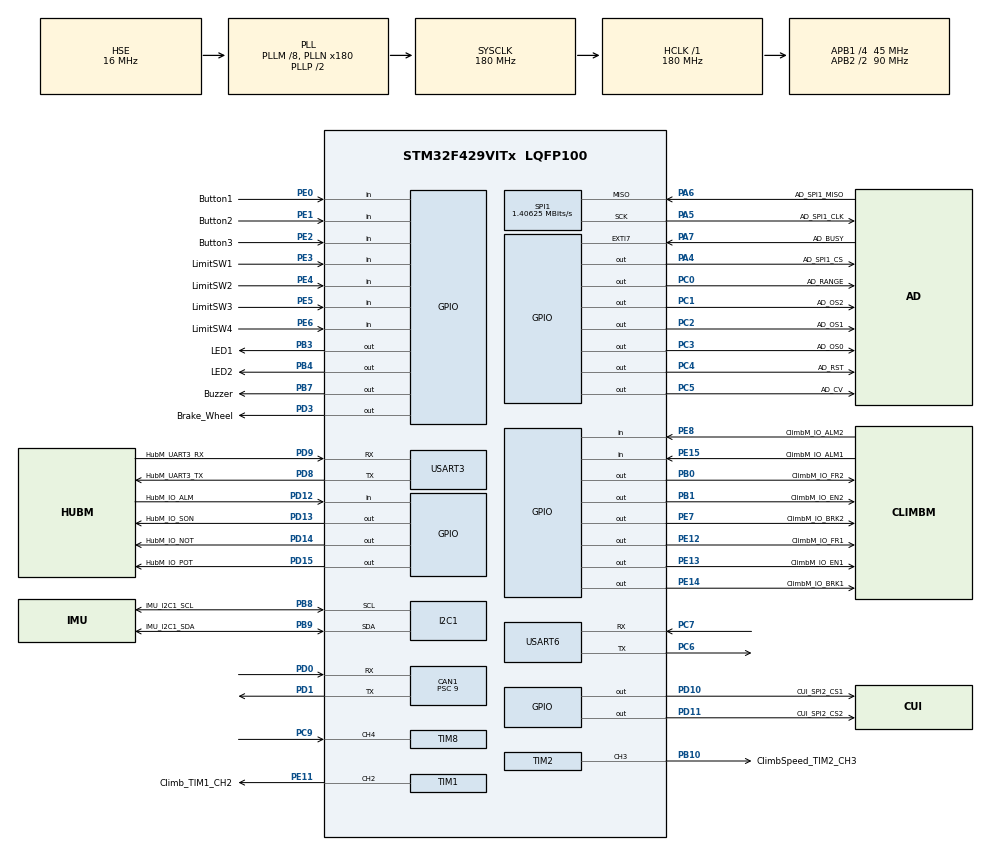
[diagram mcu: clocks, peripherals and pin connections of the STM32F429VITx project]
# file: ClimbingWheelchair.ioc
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CAN1.BS1=CAN_BS1_2TQ
CAN1.BS2=CAN_BS2_2TQ
CAN1.CalculateBaudRate=1000000
CAN1.CalculateTimeBit=1000.00
CAN1.CalculateTimeQuantum=200.0
CAN1.Prescaler=9
Dma.Request0=USART3_RX
Dma.Request1=USART3_TX
Dma.Request2=USART6_RX
Dma.Request3=USART6_TX
Dma.USART3_RX.0.Direction=DMA_PERIPH_TO_MEMORY
Dma.USART3_RX.0.FIFOMode=DMA_FIFOMODE_DISABLE
Dma.USART3_RX.0.Instance=DMA1_Stream1
Dma.USART3_RX.0.MemDataAlignment=DMA_MDATAALIGN_BYTE
Dma.USART3_RX.0.MemInc=DMA_MINC_ENABLE
Dma.USART3_RX.0.Mode=DMA_NORMAL
Dma.USART3_RX.0.PeriphDataAlignment=DMA_PDATAALIGN_BYTE
Dma.USART3_RX.0.PeriphInc=DMA_PINC_DISABLE
Dma.USART3_RX.0.Priority=DMA_PRIORITY_LOW
Dma.USART3_TX.1.Direction=DMA_MEMORY_TO_PERIPH
Dma.USART3_TX.1.FIFOMode=DMA_FIFOMODE_DISABLE
Dma.USART3_TX.1.Instance=DMA1_Stream3
Dma.USART3_TX.1.MemDataAlignment=DMA_MDATAALIGN_BYTE
Dma.USART3_TX.1.MemInc=DMA_MINC_ENABLE
Dma.USART3_TX.1.Mode=DMA_NORMAL
Dma.USART3_TX.1.PeriphDataAlignment=DMA_PDATAALIGN_BYTE
Dma.USART3_TX.1.PeriphInc=DMA_PINC_DISABLE
Dma.USART3_TX.1.Priority=DMA_PRIORITY_LOW
Dma.USART6_RX.2.Direction=DMA_PERIPH_TO_MEMORY
Dma.USART6_RX.2.FIFOMode=DMA_FIFOMODE_DISABLE
Dma.USART6_RX.2.Instance=DMA2_Stream1
Dma.USART6_RX.2.MemDataAlignment=DMA_MDATAALIGN_BYTE
Dma.USART6_RX.2.MemInc=DMA_MINC_ENABLE
Dma.USART6_RX.2.Mode=DMA_NORMAL
Dma.USART6_RX.2.PeriphDataAlignment=DMA_PDATAALIGN_BYTE
Dma.USART6_RX.2.PeriphInc=DMA_PINC_DISABLE
Dma.USART6_RX.2.Priority=DMA_PRIORITY_LOW
Dma.USART6_TX.3.Direction=DMA_MEMORY_TO_PERIPH
Dma.USART6_TX.3.FIFOMode=DMA_FIFOMODE_DISABLE
Dma.USART6_TX.3.Instance=DMA2_Stream6
Dma.USART6_TX.3.MemDataAlignment=DMA_MDATAALIGN_BYTE
Dma.USART6_TX.3.MemInc=DMA_MINC_ENABLE
Dma.USART6_TX.3.Mode=DMA_NORMAL
Dma.USART6_TX.3.PeriphDataAlignment=DMA_PDATAALIGN_BYTE
Dma.USART6_TX.3.PeriphInc=DMA_PINC_DISABLE
Dma.USART6_TX.3.Priority=DMA_PRIORITY_LOW
I2C1.I2C_Mode=I2C_Fast
Mcu.Family=STM32F4
Mcu.Name=STM32F429VITx
Mcu.Package=LQFP100
NVIC.CAN1_RX0_IRQn=true\:0\:0\:false\:false\:true\:true\:true
NVIC.DMA1_Stream1_IRQn=true\:0\:0\:false\:false\:true\:false\:true
NVIC.DMA1_Stream3_IRQn=true\:0\:0\:false\:false\:true\:false\:true
NVIC.DMA2_Stream1_IRQn=true\:0\:0\:false\:false\:true\:false\:true
NVIC.DMA2_Stream6_IRQn=true\:0\:0\:false\:false\:true\:false\:true
NVIC.EXTI9_5_IRQn=true\:0\:0\:false\:false\:true\:true\:true
NVIC.PriorityGroup=NVIC_PRIORITYGROUP_4
NVIC.TIM8_BRK_TIM12_IRQn=true\:0\:0\:false\:false\:true\:true\:true
NVIC.TIM8_CC_IRQn=true\:0\:0\:false\:false\:true\:true\:true
NVIC.TIM8_TRG_COM_TIM14_IRQn=true\:0\:0\:false\:false\:true\:true\:true
NVIC.TIM8_UP_TIM13_IRQn=true\:0\:0\:false\:false\:true\:true\:true
NVIC.USART3_IRQn=true\:0\:0\:false\:false\:true\:true\:true
NVIC.USART6_IRQn=true\:0\:0\:false\:false\:true\:true\:true
PA13.Mode=Serial_Wire
PA13.Signal=SYS_JTMS-SWDIO
PA14.Mode=Serial_Wire
PA14.Signal=SYS_JTCK-SWCLK
PA4.GPIO_Label=AD_SPI1_CS
PA4.GPIO_PuPd=GPIO_PULLUP
PA4.GPIO_Speed=GPIO_SPEED_FREQ_LOW
PA4.PinState=GPIO_PIN_RESET
PA4.Signal=GPIO_Output
PA5.GPIO_Label=AD_SPI1_CLK
PA5.Mode=RX_Only_Simplex_Unidirect_Master
PA5.Signal=SPI1_SCK
PA6.GPIO_Label=AD_SPI1_MISO
PA6.Mode=RX_Only_Simplex_Unidirect_Master
PA6.Signal=SPI1_MISO
PA7.GPIO_Label=AD_BUSY
PA7.GPIO_ModeDefaultEXTI=GPIO_MODE_IT_FALLING
PA7.Signal=GPXTI7
PB0.GPIO_Label=ClimbM_IO_FR2
PB0.GPIO_PuPd=GPIO_PULLUP
PB0.Signal=GPIO_Output
PB1.GPIO_Label=ClimbM_IO_EN2
PB1.GPIO_PuPd=GPIO_PULLUP
PB1.Signal=GPIO_Output
PB10.GPIO_Label=ClimbSpeed_TIM2_CH3
PB10.Signal=S_TIM2_CH3
PB3.GPIO_Label=LED1
PB3.GPIO_PuPd=GPIO_PULLUP
PB3.Signal=GPIO_Output
PB4.GPIO_Label=LED2
PB4.GPIO_PuPd=GPIO_PULLUP
PB4.Signal=GPIO_Output
PB5.Signal=CAN2_RX
PB7.GPIO_Label=Buzzer
PB7.GPIO_PuPd=GPIO_PULLUP
PB7.Signal=GPIO_Output
PB8.GPIO_Label=IMU_I2C1_SCL
PB8.GPIO_Pu=GPIO_PULLUP
PB8.Mode=I2C
PB8.Signal=I2C1_SCL
PB9.GPIO_Label=IMU_I2C1_SDA
PB9.GPIO_Pu=GPIO_PULLUP
PB9.Mode=I2C
PB9.Signal=I2C1_SDA
PC0.GPIO_Label=AD_RANGE
PC0.GPIO_PuPd=GPIO_PULLUP
PC0.Signal=GPIO_Output
PC1.GPIO_Label=AD_OS2
PC1.GPIO_PuPd=GPIO_PULLUP
PC1.Signal=GPIO_Output
PC14/OSC32_IN.Mode=LSE-External-Oscillator
PC14/OSC32_IN.Signal=RCC_OSC32_IN
PC15/OSC32_OUT.Mode=LSE-External-Oscillator
PC15/OSC32_OUT.Signal=RCC_OSC32_OUT
PC2.GPIO_Label=AD_OS1
PC2.GPIO_PuPd=GPIO_PULLUP
PC2.Signal=GPIO_Output
PC3.GPIO_Label=AD_OS0
PC3.GPIO_PuPd=GPIO_PULLUP
PC3.Signal=GPIO_Output
PC4.GPIO_Label=AD_RST
PC4.GPIO_PuPd=GPIO_PULLUP
PC4.Signal=GPIO_Output
PC5.GPIO_Label=AD_CV
PC5.GPIO_PuPd=GPIO_PULLUP
PC5.Signal=GPIO_Output
PC6.Mode=Asynchronous
PC6.Signal=USART6_TX
PC7.Mode=Asynchronous
PC7.Signal=USART6_RX
PC9.Signal=S_TIM8_CH4
PD0.Mode=CAN_Activate
PD0.Signal=CAN1_RX
PD1.Mode=CAN_Activate
PD1.Signal=CAN1_TX
PD10.GPIO_Label=CUI_SPI2_CS1
PD10.GPIO_PuPd=GPIO_PULLUP
PD10.Signal=GPIO_Output
PD11.GPIO_Label=CUI_SPI2_CS2
PD11.GPIO_PuPd=GPIO_PULLUP
PD11.Signal=GPIO_Output
PD12.GPIO_Label=HubM_IO_ALM
PD12.Signal=GPIO_Input
PD13.GPIO_Label=HubM_IO_SON
PD13.GPIO_PuPd=GPIO_PULLUP
PD13.Signal=GPIO_Output
PD14.GPIO_Label=HubM_IO_NOT
PD14.GPIO_PuPd=GPIO_PULLUP
PD14.Signal=GPIO_Output
PD15.GPIO_Label=HubM_IO_POT
PD15.GPIO_PuPd=GPIO_PULLUP
PD15.Signal=GPIO_Output
PD3.GPIO_Label=Brake_Wheel
PD3.GPIO_PuPd=GPIO_PULLUP
PD3.Signal=GPIO_Output
PD8.GPIO_Label=HubM_UART3_TX
PD8.Mode=Asynchronous
PD8.Signal=USART3_TX
PD9.GPIO_Label=HubM_UART3_RX
PD9.Mode=Asynchronous
PD9.Signal=USART3_RX
PE0.GPIO_Label=Button1
PE0.GPIO_PuPd=GPIO_PULLDOWN
PE0.Signal=GPIO_Input
PE1.GPIO_Label=Button2
PE1.GPIO_PuPd=GPIO_PULLDOWN
PE1.Signal=GPIO_Input
PE11.GPIO_Label=Climb_TIM1_CH2
PE11.Signal=S_TIM1_CH2
PE12.GPIO_Label=ClimbM_IO_FR1
PE12.GPIO_PuPd=GPIO_PULLUP
PE12.Signal=GPIO_Output
PE13.GPIO_Label=ClimbM_IO_EN1
PE13.GPIO_PuPd=GPIO_PULLUP
PE13.Signal=GPIO_Output
PE14.GPIO_Label=ClimbM_IO_BRK1
PE14.GPIO_PuPd=GPIO_PULLUP
PE14.Signal=GPIO_Output
PE15.GPIO_Label=ClimbM_IO_ALM1
PE15.GPIO_PuPd=GPIO_PULLUP
PE15.Signal=GPIO_Input
PE2.GPIO_Label=Button3
PE2.GPIO_PuPd=GPIO_PULLDOWN
PE2.Signal=GPIO_Input
PE3.GPIO_Label=LimitSW1
PE3.GPIO_PuPd=GPIO_PULLUP
PE3.Signal=GPIO_Input
PE4.GPIO_Label=LimitSW2
PE4.GPIO_PuPd=GPIO_PULLUP
PE4.Signal=GPIO_Input
PE5.GPIO_Label=LimitSW3
PE5.GPIO_PuPd=GPIO_PULLUP
PE5.Signal=GPIO_Input
PE6.GPIO_Label=LimitSW4
PE6.GPIO_PuPd=GPIO_PULLUP
PE6.Signal=GPIO_Input
PE7.GPIO_Label=ClimbM_IO_BRK2
PE7.GPIO_PuPd=GPIO_PULLUP
PE7.Signal=GPIO_Output
PE8.GPIO_Label=ClimbM_IO_ALM2
PE8.GPIO_PuPd=GPIO_PULLUP
PE8.Signal=GPIO_Input
PH0/OSC_IN.Mode=HSE-External-Oscillator
PH0/OSC_IN.Signal=RCC_OSC_IN
PH1/OSC_OUT.Mode=HSE-External-Oscillator
PH1/OSC_OUT.Signal=RCC_OSC_OUT
ProjectManager.HeapSize=0x200
ProjectManager.StackSize=0x400
ProjectManager.TargetToolchain=STM32CubeIDE
RCC.48MHZClocksFreq_Value=90000000
RCC.AHBFreq_Value=180000000
RCC.APB1CLKDivider=RCC_HCLK_DIV4
RCC.APB1Freq_Value=45000000
RCC.APB1TimFreq_Value=90000000
RCC.APB2CLKDivider=RCC_HCLK_DIV2
RCC.APB2Freq_Value=90000000
RCC.APB2TimFreq_Value=180000000
RCC.CortexFreq_Value=180000000
RCC.HCLKFreq_Value=180000000
RCC.HSE_VALUE=16000000
RCC.HSI_VALUE=16000000
RCC.PLLM=8
RCC.PLLN=180
RCC.PLLSourceVirtual=RCC_PLLSOURCE_HSE
RCC.SYSCLKFreq_VALUE=180000000
RCC.SYSCLKSource=RCC_SYSCLKSOURCE_PLLCLK
RCC.VCOOutputFreq_Value=360000000
SH.S_TIM1_CH2.0=TIM1_CH2,PWM Generation2 CH2
SH.S_TIM2_CH3.0=TIM2_CH3,PWM Generation3 CH3
SH.S_TIM8_CH4.0=TIM8_CH4,Input_Capture4_from_TI4
SPI1.BaudRatePrescaler=SPI_BAUDRATEPRESCALER_64
SPI1.CLKPolarity=SPI_POLARITY_HIGH
SPI1.CalculateBaudRate=1.40625 MBits/s
SPI1.DataSize=SPI_DATASIZE_16BIT
SPI1.Direction=SPI_DIRECTION_2LINES_RXONLY
SPI1.Mode=SPI_MODE_MASTER
SPI1.VirtualType=VM_MASTER
TIM1.Channel-PWM\ Generation2\ CH2=TIM_CHANNEL_2
TIM1.Period=100-1
TIM1.Prescaler=180-1
TIM2.Channel-PWM\ Generation3\ CH3=TIM_CHANNEL_3
TIM2.Period=100-1
TIM2.Prescaler=90-1
TIM3.Period=20000-1
TIM3.Prescaler=90-1
TIM8.AutoReloadPreload=TIM_AUTORELOAD_PRELOAD_DISABLE
TIM8.Channel-Input_Capture4_from_TI4=TIM_CHANNEL_4
TIM8.Period=65535
TIM8.Prescaler=90-1
USART3.VirtualMode=VM_ASYNC
USART6.VirtualMode=VM_ASYNC
VP_TIM1_VS_ClockSourceINT.Mode=Internal
VP_TIM2_VS_ClockSourceINT.Mode=Internal
VP_TIM3_VS_ClockSourceINT.Mode=Internal
VP_TIM8_VS_ClockSourceINT.Mode=Internal
board=custom

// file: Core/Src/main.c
/* USER CODE BEGIN Header */
/**
 ******************************************************************************
 * @file           : main.c
 * @brief          : Main program body
 ******************************************************************************
 * @attention
 *
 * <h2><center>&copy; Copyright (c) 2021 STMicroelectronics.
 * All rights reserved.</center></h2>
 *
 * This software component is licensed by ST under BSD 3-Clause license,
 * the "License"; You may not use this file except in compliance with the
 * License. You may obtain a copy of the License at:
 *                        opensource.org/licenses/BSD-3-Clause
 *
 ******************************************************************************
 */
/* USER CODE END Header */
#include "main.h"
#include "can.h"
#include "dma.h"
#include "i2c.h"
#include "spi.h"
#include "tim.h"
#include "usart.h"
#include "gpio.h"

/* USER CODE BEGIN Includes */
#include <math.h>
#include <stdio.h>
#include <stdlib.h>
#include <stdbool.h>
#include "adc.h"
#include "encoder.h"
#include "button.h"
#include "mpu6050.h"
#include "bd25l.h"
#include "X2_6010S.h"
//#include "wheelchair.h"
#include "PID.h"
#include "Sabertooth.h"
#include "joystick.h"
#include "differentialDrive.h"
#include "DifferentialDrivetoSabertooth.h"

/* USER CODE END Includes */

/* USER CODE BEGIN PD */
#define MAX(x, y) (((x) > (y)) ? (x) : (y))
#define MIN(x, y) (((x) < (y)) ? (x) : (y))
#define TO_RAD(x) x * M_PI / 180
#define TO_DEG(x) x * 180 / M_PI
/* USER CODE END PD */

/* USER CODE BEGIN PM */
const float CLIMBING_LEG_LENGTH = 0.349; //in m, measured from the pivot to the center of hub motor
const float BASE_HEIGHT = 0.15;
const float BACK_BASE_HEIGHT = 0.15;

//ALLOWABLE is the maximum pos the climbing wheel can turn
//FRONT_CLIMBING is the pos that the base above the climbing wheel w
const uint32_t MAX_FRONT_ALLOWABLE_ENC = 3100;
const uint32_t MIN_FRONT_ALLOWABLE_ENC = 6600; //6600
const uint32_t MAX_FRONT_CLIMBING_ENC = 1950; //used for climbing up
const uint32_t MAX_BACK_ALLOWABLE_ENC = 3000;
const uint32_t MIN_BACK_ALLOWABLE_ENC = 7500;
const uint32_t MAX_BACK_CLIMBING_ENC = 1850; //used when climbing down
const uint32_t FRONT_FULL_ROTATION_ENC = 4096 * FRONT_GEAR_RATIO;
const uint32_t BACK_FULL_ROTATION_ENC = 4096 * BACK_GEAR_RATIO;

/* USER CODE END PM */

/* USER CODE BEGIN PV */
//Limit Switches & Tactile Switches
Button_TypeDef rearLS1 =
{ .gpioPort = LimitSW1_GPIO_Port, .gpioPin =
LimitSW1_Pin };
Button_TypeDef rearLS2 =
{ .gpioPort = LimitSW2_GPIO_Port, .gpioPin =
LimitSW2_Pin };
Button_TypeDef backLS1 =
{ .gpioPort = LimitSW3_GPIO_Port, .gpioPin =
LimitSW3_Pin };
Button_TypeDef backLS2 =
{ .gpioPort = LimitSW4_GPIO_Port, .gpioPin =
LimitSW4_Pin };
Button_TypeDef button1 =
{ .gpioPort = Button1_GPIO_Port, .gpioPin = Button1_Pin };
Button_TypeDef button2 =
{ .gpioPort = Button2_GPIO_Port, .gpioPin = Button2_Pin };
Button_TypeDef button3 =
{ .gpioPort = Button3_GPIO_Port, .gpioPin = Button3_Pin };

//Joystick/ADC
int16_t adc_rawData[8];
uint32_t prev_adc_time = 0;
JoystickHandle joystick_handler = {0};

//Wheelchair Base wheel control
differentialDrive_Handler differential_drive_handler;
Gear_Level gear_level = GEAR1; //change the speed level if need higher speed
Sabertooth_Handler sabertooth_handler;
uint8_t motor_receive_buf[9];
speedConfig speed_config =
{
	.min_vel = -0.4, //gear level/100
	.max_vel = 0.4,
	.min_acc = -0.2,
	.max_acc = 0.2
};

//Lifting Mode
//State
Operation_Mode lifting_mode = RETRACTION; //0 is normal operation, 1 is lifting up, 2 is lifitng down, -1 is retraction
bool front_touchdown = false; //Record the state of climbing wheel whether contact with ground
bool back_touchdown = false;

//-----------------------------------------------------------------------------------------------
//Balance Control
//-----------------------------------------------------------------------------------------------
MPU6050_t MPU6050;
double initial_angle = 0;
double exp_angle_filter = 0.8;
bool climb_first_iteration = true;
bool button_prev_state = false;
//-----------------------------------------------------------------------------------------------
//Climbing Position Control
//-----------------------------------------------------------------------------------------------
//Climbing landing motor
Motor_TypeDef rearMotor, backMotor; //declare in bd25l.c
float speed[2] =
{ 0 }; //range: 0 - 100
EncoderHandle encoderBack, encoderFront;
float prev_angle_tick = 0;
float prev_angle = 0;

//Front Climbing Position Control
struct pid_controller frontClimb_ctrl;
PID_t frontClimb_pid;
float frontClimb_input = 0, frontClimb_output = 0;
float frontClimb_setpoint = 0;
float frontClimb_kp = 0.35, frontClimb_ki = 0.003, frontClimb_kd = 0.00001;

//Back Climbing Position Control
struct pid_controller backClimb_ctrl;
PID_t backClimb_pid;
float backClimb_input = 0, backClimb_output = 0;
float backClimb_setpoint = 0;
float backClimb_kp = 0.3, backClimb_ki = 0.004, backClimb_kd = 0.00001;

float curb_height = 0; //store curb height
int front_climbDown_enc = 0; //used when climbing down stair, to leave a gap between the front wheel and ground
float back_lifting_height = 0;
float back_lifting_angle = 0;
int back_encoder_input = 0;
//-----------------------------------------------------------------------------------------------
//Climbing Forward Control
//-----------------------------------------------------------------------------------------------
//Hub Motor UART receive
uint8_t receive_buf[15];
Encoder_Feedback hub_encoder_feedback;

float climbForward_speed = 0; //rad/s`
float forward_distance = BASE_LENGTH; // (in meter) distance to travel during climbing process by hub
bool is_lifting = false;
bool finish_climbing_flag = false;
//-----------------------------------------------------------------------------------------------
//Debug Test
//-----------------------------------------------------------------------------------------------
enum Mode
{
	TEST = 0, NORMAL_DEBUG
};
enum Mode state = NORMAL_DEBUG;
int state_count = 0;

int motor_speed = 0;
//float dist = 0.386;

/* USER CODE END PV */

void SystemClock_Config(void);
/* USER CODE BEGIN PFP */
void baseMotorCommand(void);
bool climbingForward(float dist); //return true if in the process of moving forward
bool goto_pos(int enc, PID_t pid_t); //return true if still in the process of reaching the position
bool in_climb_process(int front_enc, int back_enc);
/* USER CODE END PFP */

int main(void)
{

  /* MCU Configuration--------------------------------------------------------*/

  /* Reset of all peripherals, Initializes the Flash interface and the Systick. */
  HAL_Init();

  /* Configure the system clock */
  SystemClock_Config();

  /* USER CODE BEGIN SysInit */
	HAL_SYSTICK_Config(HAL_RCC_GetHCLKFreq() / FREQUENCY);
	HAL_SYSTICK_CLKSourceConfig(SYSTICK_CLKSOURCE_HCLK);
	HAL_NVIC_SetPriority(SysTick_IRQn, 0, 0);
  /* USER CODE END SysInit */

  /* Initialize all configured peripherals */
  MX_GPIO_Init();
  MX_DMA_Init();
  MX_I2C1_Init();
  MX_TIM1_Init();
  MX_TIM2_Init();
  MX_USART3_UART_Init();
  MX_TIM3_Init();
  MX_TIM8_Init();
  MX_CAN1_Init();
  MX_SPI1_Init();
  MX_USART6_UART_Init();
  /* USER CODE BEGIN 2 */
	//Initialize hardware communication
	ADC_Init();
	ADC_DataRequest();

	differentialDriveInit(&differential_drive_handler, FREQUENCY);

//	uint32_t state_count = HAL_GetTick();
//	while (MPU6050_Init(&hi2c1) == 1)
//	{
//		if (HAL_GetTick() - state_count > 5000)
//			Error_Handler();
//	}

	//Initialize encoder and start rx callback
	ENCODER_Init();
	ENCODER_Get_Angle(&encoderBack);
	ENCODER_Get_Angle(&encoderFront);

	//Initialize base wheel
	MotorInit(&sabertooth_handler, 128, &huart6);
	MotorStartup(&sabertooth_handler);
	MotorStop(&sabertooth_handler);

//	//Initialize rear and back motor
	bd25l_Init(&rearMotor);
	bd25l_Init(&backMotor);
	runMotor(&rearMotor, 0);
	runMotor(&backMotor, 0);
	emBrakeMotor(0);
//
	//Initialize hub motor
	hubMotor_Init();
	send_HubMotor(0, 0);

	//Initialize front and back climbing position controller
	frontClimb_pid = pid_create(&frontClimb_ctrl, &frontClimb_input,
			&frontClimb_output, &frontClimb_setpoint, frontClimb_kp,
			frontClimb_ki, frontClimb_kd);
	pid_limits(frontClimb_pid, -80, 80);
	pid_sample(frontClimb_pid, 1);
	pid_auto(frontClimb_pid);

	backClimb_pid = pid_create(&backClimb_ctrl, &backClimb_input,
			&backClimb_output, &backClimb_setpoint, backClimb_kp, backClimb_ki,
			backClimb_kd);
	pid_limits(backClimb_pid, -80, 80);
	pid_sample(backClimb_pid, 1);
	pid_auto(backClimb_pid);

  /* USER CODE END 2 */

  /* Infinite loop */
  /* USER CODE BEGIN WHILE */
	uint32_t prev_time = HAL_GetTick();
//	while (state_count++ < 1000)
//		MPU6050_Read_All(&hi2c1, &MPU6050);
//	initial_angle = MPU6050.KalmanAngleX;
	state_count = 0;
	emBrakeMotor(1);

	//Reset encoder position
//	ENCODER_Set_ZeroPosition(&encoderBack);
//	ENCODER_Set_ZeroPosition(&encoderFront);
//	HAL_Delay(100);

	while (1)
	{
		//Loop should execute once every 1 tick
		if (HAL_GetTick() - prev_time >= 1)
		{
			ADC_DataRequest();
			ENCODER_Read(&encoderBack);
			ENCODER_Read(&encoderFront);

			//Get kamlan filtered angle from MPU6050
//			MPU6050_Read_All(&hi2c1, &MPU6050);
			GPIO_Digital_Filtered_Input(&button1, 30);
			GPIO_Digital_Filtered_Input(&button2, 30);
			GPIO_Digital_Filtered_Input(&button3, 30);

			GPIO_Digital_Filtered_Input(&rearLS1, 5);
			GPIO_Digital_Filtered_Input(&rearLS2, 5);
			GPIO_Digital_Filtered_Input(&backLS1, 5);
			GPIO_Digital_Filtered_Input(&backLS2, 5);

			//---------------------------------------------------------------------------------------------------
			//3-button control climbing mechanism
			//---------------------------------------------------------------------------------------------------
//			if (button1.state == GPIO_PIN_SET
//					&& button3.state == GPIO_PIN_RESET)
//				speed[FRONT_INDEX] = 10;
//			else if (button1.state == GPIO_PIN_SET
//					&& button3.state == GPIO_PIN_SET)
//				speed[FRONT_INDEX] = -10;
//			else if (button1.state == GPIO_PIN_RESET)
//				speed[FRONT_INDEX] = 0;
//
//			if (button2.state == GPIO_PIN_SET
//					&& button3.state == GPIO_PIN_RESET)
//				speed[BACK_INDEX] = 10;
//			else if (button2.state == GPIO_PIN_SET
//					&& button3.state == GPIO_PIN_SET)
//				speed[BACK_INDEX] = -10;
//			else if (button2.state == GPIO_PIN_RESET)
//				speed[BACK_INDEX] = 0;
//
//			front_climbDown_enc = encoderFront.encoder_pos
//										+ 3.0 / 360.0 * 4096 * FRONT_GEAR_RATIO;
//			curb_height = CLIMBING_LEG_LENGTH
//										* cos(TO_RAD(encoderFront.angleDeg)) + BASE_HEIGHT
//										- FRONT_CLIMB_WHEEL_DIAMETER / 2.0;

//			send_HubMotor(1, 1);

			//---------------------------------------------------------------------------------------------------
			//Testing Climbing Position Control
			//
			//---------------------------------------------------------------------------------------------------
//			if (button2.state == GPIO_PIN_SET && state_count++ > 10) {
//				state_count = 0;
//				if (state == TEST) {
//					state = NORMAL_DEBUG;
//				} else if (state == NORMAL_DEBUG)
//					state = TEST;
//			}
//			if (state == TEST) {
////				goto_pos(0, backClimb_pid);
//				if (!in_climb_process(0, 2200))
//				{
//					HAL_Delay(500);
//				}
////				goto_pos(0, frontClimb_pid);
//			}

//			if (state == NORMAL_DEBUG) {
//				if (button1.state == GPIO_PIN_SET
//						&& button3.state == GPIO_PIN_RESET)
//					speed[FRONT_INDEX] = 30;
//				else if (button1.state == GPIO_PIN_SET
//						&& button3.state == GPIO_PIN_SET)
//					speed[FRONT_INDEX] = -30;
//				else if (button1.state == GPIO_PIN_RESET)
//					speed[FRONT_INDEX] = 0;
//				curb_height = CLIMBING_LEG_LENGTH * cos(TO_RAD(encoderFront.angleDeg)) + BASE_HEIGHT - FRONT_CLIMB_WHEEL_DIAMETER / 2.0;
////				curb_height -= 0.01;
//				speed[BACK_INDEX] = 0;
//			}

//			if (state == NORMAL_DEBUG) {
//				if (button1.state == GPIO_PIN_SET
//						&& button3.state == GPIO_PIN_RESET)
//					speed[BACK_INDEX] = 30;
//				else if (button1.state == GPIO_PIN_SET
//						&& button3.state == GPIO_PIN_SET)
//					speed[BACK_INDEX] = -30;
//				else if (button1.state == GPIO_PIN_RESET)
//					speed[BACK_INDEX] = 0;
//				speed[FRONT_INDEX] = 0;
//			}

			/*---- Final Code -----------------------------------------
			 *	1. Climbing wheel extension.
			 *	2. Wheelchair lifting/dropping
			 *	3. Climbing wheel retraction
			 *-------------------------------------------------------------------*/
			//when button3 is pressed, Extend climbing wheel until both wheel touches the ground
			if ((button3.state == 1 || button_prev_state == 1)
					&& climb_first_iteration == true)
			{
				button_prev_state = 1;
				if (abs(encoderFront.signed_encoder_pos) >= 50
						|| abs(encoderBack.signed_encoder_pos) >= 50)
				{
					goto_pos(0, frontClimb_pid);
					goto_pos(0, backClimb_pid);
					lifting_mode = EMPTY;
				}
				else
				{
					runMotor(&rearMotor, 0);
					runMotor(&backMotor, 0);
					lifting_mode = LANDING;
					button_prev_state = 0;
					HAL_Delay(500);

				}
			}

			if (front_touchdown == false && back_touchdown == false
					&& lifting_mode == LANDING)
			{
				//Stop the base wheel completely
				MotorThrottle(&sabertooth_handler, 1, 0);
				MotorThrottle(&sabertooth_handler, 2, 0);

				//Disengage the motor brake
				emBrakeMotor(1);

				//Start landing process
				while (front_touchdown == false || back_touchdown == false)
				{
					if (GPIO_Digital_Filtered_Input(&rearLS1, 5)
							|| GPIO_Digital_Filtered_Input(&rearLS2, 5))
						front_touchdown = 1;
					if (GPIO_Digital_Filtered_Input(&backLS1, 5)
							|| GPIO_Digital_Filtered_Input(&backLS2, 5))
						back_touchdown = 1;

					//if front touch before back, climbing up process
					if (back_touchdown == 0 && front_touchdown == 1
							&& lifting_mode == LANDING)
						lifting_mode = CLIMB_UP;
					//if back touch before front, climbing down process
					else if (back_touchdown == 1 && front_touchdown == 0
							&& lifting_mode == LANDING)
						lifting_mode = CLIMB_DOWN;

					ENCODER_Read(&encoderBack);
					ENCODER_Read(&encoderFront);

					if (back_touchdown == false)
						runMotor(&backMotor, 30);
					else
						runMotor(&backMotor, 0);

					if (front_touchdown == false)
						runMotor(&rearMotor, 30);
					else
						runMotor(&rearMotor, 0);

				}
				runMotor(&rearMotor, 0);
				runMotor(&backMotor, 0);
				emBrakeMotor(0);
				HAL_Delay(500);
				continue; //to refresh the loop and get the latest encoder reading
			}
			//Normal wheelchair mode, basic joystick control mode
			if (lifting_mode == NORMAL)
			{
				HAL_GPIO_WritePin(LED1_GPIO_Port, LED1_Pin, GPIO_PIN_RESET);
				HAL_GPIO_WritePin(LED2_GPIO_Port, LED2_Pin, GPIO_PIN_RESET);
//				wheel_Control(&baseWheelSpeed);
				computeSpeed(&differential_drive_handler, joystick_handler.x, joystick_handler.y, gear_level);
				differentialDrivetoSabertoothOutputAdapter(&differential_drive_handler, &sabertooth_handler);
				front_touchdown = false;
				back_touchdown = false;
				climb_first_iteration = true;
				speed[FRONT_INDEX] = 0;
				speed[BACK_INDEX] = 0;
			}
			//Climbing up process
			if (lifting_mode == CLIMB_UP)
			{
				HAL_GPIO_WritePin(LED1_GPIO_Port, LED1_Pin, GPIO_PIN_SET);
				if (climb_first_iteration)
				{
					//If curb_height is positive, should be climbing up process and vice versa
					curb_height = CLIMBING_LEG_LENGTH
							* cos(TO_RAD(encoderFront.angleDeg)) + BASE_HEIGHT
							- FRONT_CLIMB_WHEEL_DIAMETER / 2.0;
					curb_height += 0.015; //Small error correction 10%

					//First determine whether is the height climb-able
					back_lifting_height = BACK_BASE_HEIGHT + curb_height
							- HUB_DIAMETER / 2;
					back_lifting_angle =
					TO_DEG(
							(float )acos(
									-back_lifting_height
									/ CLIMBING_LEG_LENGTH)) - 30.0; //30.0 is the bending angle of the extender(originally 36.6).
					back_encoder_input = (back_lifting_angle / 360.0)
							* (4096 * BACK_GEAR_RATIO);

					//3 different scenerio to abort the climbing up task
					//1. The angle calculated is not feasible
					//2. The leg rotate more than it supposed to
					//3. The curb height is too low where climbing up is unnecessary
					if (isnan(back_lifting_angle)
							|| back_encoder_input >= MAX_BACK_ALLOWABLE_ENC
								|| curb_height <= 0.05 )
					{
						lifting_mode = RETRACTION;
						continue;
					}
					speed[BACK_INDEX] = 0;
					speed[FRONT_INDEX] = 0;
					climb_first_iteration = false;
				}
				//Mathematical Model
				//Start Climbing process
				if (finish_climbing_flag == false){
					if(!in_climb_process(MAX_FRONT_CLIMBING_ENC,back_encoder_input))
						finish_climbing_flag = true;
				}

				if (finish_climbing_flag == true){
					emBrakeMotor(0);
					if(!(climbingForward(forward_distance+0.03)))
					{
						emBrakeMotor(1);
						finish_climbing_flag = false;
						lifting_mode = RETRACTION;
						HAL_Delay(500);
					}
				}
			}

			else if (lifting_mode == CLIMB_DOWN)
			{
				//Climbing down process
				HAL_GPIO_WritePin(LED2_GPIO_Port, LED2_Pin, GPIO_PIN_SET);
				if (climb_first_iteration)
				{
					front_climbDown_enc = encoderFront.encoder_pos
							+ 5.0 / 360.0 * 4096 * FRONT_GEAR_RATIO;

					//First determine whether is the height climb-able
					if (front_climbDown_enc > MAX_FRONT_ALLOWABLE_ENC )
					{
						lifting_mode = RETRACTION;
						continue;
					}
					climb_first_iteration = false;

					speed[BACK_INDEX] = 0;
					speed[FRONT_INDEX] = 0;
				}

				//Start Climbing process
				if (finish_climbing_flag == false){
					if(!in_climb_process(front_climbDown_enc,MAX_BACK_CLIMBING_ENC))
						finish_climbing_flag = true;
				}

				if (finish_climbing_flag == true){
					emBrakeMotor(0);
					if(!(climbingForward(forward_distance)))
					{
						emBrakeMotor(1);
						finish_climbing_flag = false;
						lifting_mode = RETRACTION;
						HAL_Delay(500);
					}
				}
			}
			if (lifting_mode == RETRACTION)
			{

				HAL_GPIO_WritePin(LED1_GPIO_Port, LED1_Pin, GPIO_PIN_SET);
				HAL_GPIO_WritePin(LED2_GPIO_Port, LED2_Pin, GPIO_PIN_SET);
				//retraction process
				if (abs(encoderBack.encoder_pos- (MIN_BACK_ALLOWABLE_ENC)) > 30
						|| abs(encoderFront.encoder_pos - (MIN_FRONT_ALLOWABLE_ENC))
								> 30)
				{
					goto_pos(MIN_BACK_ALLOWABLE_ENC, backClimb_pid);
					goto_pos(MIN_FRONT_ALLOWABLE_ENC, frontClimb_pid);
					if (speed[FRONT_INDEX] == 0 && speed[BACK_INDEX] == 0)
						lifting_mode = NORMAL;
				}
				else
				{

					lifting_mode = NORMAL;
				}

			}

			//!Must not comment the following section
			//Deadzone of climbing motor, force zero to avoid noise
			if (fabs(speed[FRONT_INDEX]) < 5)
				speed[FRONT_INDEX] = 0;
			if (fabs(speed[BACK_INDEX]) < 5)
				speed[BACK_INDEX] = 0;
			//*****VERY IMPORTANT AND MUST NOT BE COMMENTED OUT**********************************//
			//Safety check for to avoid the climbing leg overturn
			if (encoderFront.encoder_pos < FRONT_FULL_ROTATION_ENC / 2){
				if (encoderFront.encoder_pos > MAX_FRONT_ALLOWABLE_ENC && speed[FRONT_INDEX] > 0)
					speed[FRONT_INDEX] = 0;
			}
			else{
				if (encoderFront.encoder_pos < MIN_FRONT_ALLOWABLE_ENC && speed[FRONT_INDEX] < 0)
					speed[FRONT_INDEX] = 0;
			}

			if (encoderBack.encoder_pos < BACK_FULL_ROTATION_ENC / 2){
				if (encoderBack.encoder_pos > MAX_BACK_ALLOWABLE_ENC && speed[BACK_INDEX] > 0)
					speed[BACK_INDEX] = 0;
			}
			else{
				if (encoderBack.encoder_pos < MIN_BACK_ALLOWABLE_ENC && speed[BACK_INDEX] < 0)
					speed[BACK_INDEX] = 0;
			}
			//**********************************************************************************//

			runMotor(&rearMotor, speed[FRONT_INDEX]);
			runMotor(&backMotor, speed[BACK_INDEX]);

			if (speed[FRONT_INDEX] == 0 && speed[BACK_INDEX] == 0)
				emBrakeMotor(0);
			else
				emBrakeMotor(1);

			prev_time = HAL_GetTick();

		}
		//	HAL_Delay(10);

    /* USER CODE END WHILE */

    /* USER CODE BEGIN 3 */

	}
	MotorShutdown(&sabertooth_handler);
	brakeMotor(&rearMotor, 1);
	brakeMotor(&backMotor, 1);
  /* USER CODE END 3 */
}

void SystemClock_Config(void)
{
  RCC_OscInitTypeDef RCC_OscInitStruct = {0};
  RCC_ClkInitTypeDef RCC_ClkInitStruct = {0};

  /** Configure the main internal regulator output voltage
  */
  __HAL_RCC_PWR_CLK_ENABLE();
  __HAL_PWR_VOLTAGESCALING_CONFIG(PWR_REGULATOR_VOLTAGE_SCALE1);
  /** Initializes the RCC Oscillators according to the specified parameters
  * in the RCC_OscInitTypeDef structure.
  */
  RCC_OscInitStruct.OscillatorType = RCC_OSCILLATORTYPE_HSE;
  RCC_OscInitStruct.HSEState = RCC_HSE_ON;
  RCC_OscInitStruct.PLL.PLLState = RCC_PLL_ON;
  RCC_OscInitStruct.PLL.PLLSource = RCC_PLLSOURCE_HSE;
  RCC_OscInitStruct.PLL.PLLM = 8;
  RCC_OscInitStruct.PLL.PLLN = 180;
  RCC_OscInitStruct.PLL.PLLP = RCC_PLLP_DIV2;
  RCC_OscInitStruct.PLL.PLLQ = 4;
  if (HAL_RCC_OscConfig(&RCC_OscInitStruct) != HAL_OK)
  {
    Error_Handler();
  }
  /** Activate the Over-Drive mode
  */
  if (HAL_PWREx_EnableOverDrive() != HAL_OK)
  {
    Error_Handler();
  }
  /** Initializes the CPU, AHB and APB buses clocks
  */
  RCC_ClkInitStruct.ClockType = RCC_CLOCKTYPE_HCLK|RCC_CLOCKTYPE_SYSCLK
                              |RCC_CLOCKTYPE_PCLK1|RCC_CLOCKTYPE_PCLK2;
  RCC_ClkInitStruct.SYSCLKSource = RCC_SYSCLKSOURCE_PLLCLK;
  RCC_ClkInitStruct.AHBCLKDivider = RCC_SYSCLK_DIV1;
  RCC_ClkInitStruct.APB1CLKDivider = RCC_HCLK_DIV4;
  RCC_ClkInitStruct.APB2CLKDivider = RCC_HCLK_DIV2;

  if (HAL_RCC_ClockConfig(&RCC_ClkInitStruct, FLASH_LATENCY_5) != HAL_OK)
  {
    Error_Handler();
  }
}

/* USER CODE BEGIN 4 */
void HAL_GPIO_EXTI_Callback(uint16_t GPIO_Pin)
{
	switch (GPIO_Pin)
	{
	case AD_BUSY_Pin:
	{
		if (HAL_GetTick() - prev_adc_time > 1)
		{
			ADC_Read(adc_rawData);
			joystick_handler.x = adc_rawData[2];
			joystick_handler.y = adc_rawData[1];
			calculatePos(&joystick_handler);
			prev_adc_time = HAL_GetTick();
		}
	}
		break;
	default:
		break;
	}
}

void HAL_UART_RxCpltCallback(UART_HandleTypeDef *huart)
{
	//Hub Encoder callback
	if (huart->Instance == USART3)
	{
		//Checksum, make sure that response is correct
		uint16_t sum = (uint16_t) receive_buf[0] + (uint16_t) receive_buf[1]
				+ (uint16_t) receive_buf[2] + (uint16_t) receive_buf[3]
				+ (uint16_t) receive_buf[4] + (uint16_t) receive_buf[5]
				+ (uint16_t) receive_buf[6] + (uint16_t) receive_buf[7]
				+ (uint16_t) receive_buf[8] + (uint16_t) receive_buf[9]
				+ (uint16_t) receive_buf[10] + (uint16_t) receive_buf[11]
				+ (uint16_t) receive_buf[12] + (uint16_t) receive_buf[13];
		if ((uint8_t) sum == receive_buf[14])
		{
			//Encoder Feedback
			if (receive_buf[0] == 0xAA && receive_buf[1] == 0xA4
					&& receive_buf[3] == 0x00)
			{
				hub_encoder_feedback.encoder_1 = (receive_buf[9] << 24)
						+ (receive_buf[8] << 16) + (receive_buf[7] << 8)
						+ (receive_buf[6]);
				hub_encoder_feedback.encoder_2 = (receive_buf[13] << 24)
						+ (receive_buf[12] << 16) + (receive_buf[11] << 8)
						+ (receive_buf[10]);
			}
		}
	}
	//Sabertooth Callback
	if (huart->Instance == USART6)
	{
		MotorProcessReply(&sabertooth_handler, motor_receive_buf, sizeof(motor_receive_buf));
	}

}

void HAL_CAN_RxFifo0MsgPendingCallback(CAN_HandleTypeDef *hcan)
{
	//Left Encoder Callback
	static CAN_RxHeaderTypeDef canRxHeader;
	uint8_t incoming[8];
	if (hcan == &hcan1)
	{
		HAL_CAN_GetRxMessage(hcan, CAN_RX_FIFO0, &canRxHeader, incoming);
		if (incoming[1] == ENC_ADDR_LEFT)
		{
			ENCODER_Sort_Incoming(incoming, &encoderBack);
			ENCODER_Get_Angle(&encoderBack);
			//Process the angle and GR
			//4096 is encoder single turn value
			//Need to check the encoder value in the correct direction
			encoderBack.encoder_pos = (uint32_t)((4096 * BACK_GEAR_RATIO)
					- encoderBack.encoder_pos)
							% (4096 * BACK_GEAR_RATIO);
			encoderBack.angleDeg = (float) encoderBack.encoder_pos
					/ (4096 * BACK_GEAR_RATIO) * 360 + 36.587;
			if (encoderBack.angleDeg > 360)
				encoderBack.angleDeg -= 360;
			if (encoderBack.encoder_pos >= MAX_BACK_ALLOWABLE_ENC)
				encoderBack.signed_encoder_pos = encoderBack.encoder_pos
						- 4096 * BACK_GEAR_RATIO;
		}
		if (incoming[1] == ENC_ADDR_RIGHT)
		{
			ENCODER_Sort_Incoming(incoming, &encoderFront);
			ENCODER_Get_Angle(&encoderFront);
			if (4096 * 24 - encoderFront.encoder_pos < 30000)
			{
				encoderFront.encoder_pos =
						(4096 * 24 - encoderFront.encoder_pos)
								% (uint32_t) (4096 * FRONT_GEAR_RATIO);
				encoderFront.angleDeg = (float) encoderFront.encoder_pos
						/ (4096 * FRONT_GEAR_RATIO) * 360 + 36.587;
			}
			else
			{
				encoderFront.encoder_pos = (4096 * FRONT_GEAR_RATIO)
						- encoderFront.encoder_pos;
				encoderFront.angleDeg = (float) encoderFront.encoder_pos
						/ (4096 * FRONT_GEAR_RATIO) * 360 + 36.587 - 360;
			}
			if (encoderFront.encoder_pos >= MAX_FRONT_ALLOWABLE_ENC)
				encoderFront.signed_encoder_pos = encoderFront.encoder_pos
						- 4096 * FRONT_GEAR_RATIO;
		}
	}
}

//Hub motor move forward  by preset dist
bool climbingForward(float dist)
{
	static uint32_t prev_tick = 0;
	static int32_t prev_enc;
	static bool first_loop = true;
	static float dist_remaining;

	float rps = (dist >= 0) ? 1.0 : -1.0; //rad/s

	if (first_loop)
	{
		prev_enc = hub_encoder_feedback.encoder_2;
		prev_tick = HAL_GetTick();
		first_loop = false;
		dist_remaining = dist;
	}
	if (dist / dist_remaining >= 0 && first_loop == false)
	{
		send_HubMotor(rps, rps);
		if (HAL_GetTick() - prev_tick > 1)
		{
			float dt = (float) (HAL_GetTick() - prev_tick) / FREQUENCY;
			float rad_per_s = ((float) (hub_encoder_feedback.encoder_2
					- prev_enc) / dt) * 2 * M_PI / 4096;
			dist_remaining -= (HUB_DIAMETER * rad_per_s * dt) / 2;
			prev_tick = HAL_GetTick();
			prev_enc = hub_encoder_feedback.encoder_2;

		}
		return true;
	}
	else
	{
		first_loop = true;
		send_HubMotor(0, 0);
		return false;
	}
}

//Control rear and back wheel to set encoder position using PID controller
bool goto_pos(int enc, PID_t pid_t)
{
	int cur_enc_pos;
	ENCODER_Read(&encoderBack);
	ENCODER_Read(&encoderFront);
	if (pid_t == frontClimb_pid)
	{
		cur_enc_pos = (int) encoderFront.encoder_pos;
		if (pid_need_compute(frontClimb_pid) && fabs(enc - cur_enc_pos) > 5)
		{
			// Read process feedback
			if (cur_enc_pos > MAX_FRONT_ALLOWABLE_ENC)
				cur_enc_pos -= 4096 * FRONT_GEAR_RATIO;
			if (enc >= MAX_FRONT_ALLOWABLE_ENC)
				enc -= 4096 * FRONT_GEAR_RATIO;
			frontClimb_setpoint = enc;
			frontClimb_input = cur_enc_pos;
			// Compute new PID output value
			pid_compute(frontClimb_pid);
			//Change actuator value
			speed[FRONT_INDEX] = frontClimb_output;
			if(fabs(speed[FRONT_INDEX]) < 5)
			{
				speed[FRONT_INDEX] = 0;
				pid_reset(frontClimb_pid);
			}

			return true;

		}
		else
		{
//			speed[FRONT_INDEX] = 0;

			return false;
		}
	}
	else if (pid_t == backClimb_pid)
	{
		cur_enc_pos = (int) encoderBack.encoder_pos;
		if (pid_need_compute(backClimb_pid) && fabs(enc - cur_enc_pos) > 5)
		{
			// Read process feedback
			//following code is causing back turn
			if (cur_enc_pos > MAX_BACK_ALLOWABLE_ENC)
				cur_enc_pos -= 4096 * BACK_GEAR_RATIO;
			if (enc >= MAX_BACK_ALLOWABLE_ENC)
				enc -= 4096 * BACK_GEAR_RATIO;
			backClimb_setpoint = enc;
			backClimb_input = cur_enc_pos;
			// Compute new PID output value
			pid_compute(backClimb_pid);
			//Change actuator value
			speed[BACK_INDEX] = backClimb_output;
			if(fabs(speed[BACK_INDEX]) < 5)
			{
				speed[BACK_INDEX] = 0;
				pid_reset(backClimb_pid);
			}
			return true;
		}
		else
		{
//			speed[BACK_INDEX] = 0;
//			if(fabs(speed[BACK_INDEX]) < 5)
//				pid_reset(backClimb_pid);
			return false;
		}
	}
	return false;
}

//Lifting process with desired front and back encoder position
bool in_climb_process(int front_enc, int back_enc)
{
	bool is_lifting;
	static bool first_loop = true;
	static uint32_t prev_angle_tick = 0;
	static float prev_angle = 0;
	float climbForward_speed = 0;

	if (first_loop)
	{
		prev_angle = encoderBack.angleDeg;
		prev_angle_tick = HAL_GetTick();
		first_loop = false;
	}

	//1. lift the front climbing wheel up until it reach it maximum pos
	//The process is controlled by PID on the front climbing wheel
	//the maximum pos is when the climbing wheel is below the wheelchair base
	goto_pos(front_enc, frontClimb_pid);
	goto_pos(back_enc, backClimb_pid);

	if (fabs(speed[FRONT_INDEX]) >= 5 || fabs(speed[BACK_INDEX]) >= 5)
		is_lifting = true;
	else
		is_lifting = false;

	//2. During lifting, due to fixed point at the back climbing wheel.
	//The wheelchair would be pulled back if the back wheel not traveling while the its lifting
	//Therefore, lifting of back wheel and hub motor need to work at the same time to make sure the wheelchair is not moving back.
	//Pull back of wheelchair would cause the front climbing wheel to slip from the curb
	if (is_lifting == true && speed[BACK_INDEX] != 0)
	{
		double dt = (HAL_GetTick() - prev_angle_tick) / (float) FREQUENCY;
		climbForward_speed = CLIMBING_LEG_LENGTH
				* (sin(TO_RAD(prev_angle)) - sin(TO_RAD(encoderBack.angleDeg)))
				/ dt; //unit: m/s,
		climbForward_speed = climbForward_speed / (HUB_DIAMETER / 2);
		//Convert hub speed into pulse/second
		send_HubMotor(climbForward_speed, climbForward_speed);
		prev_angle = encoderBack.angleDeg;
		prev_angle_tick = HAL_GetTick();
	}
	else if (is_lifting == true && speed[BACK_INDEX] == 0)
		send_HubMotor(0, 0);

	if (!is_lifting)
		first_loop = true;
	return is_lifting;

}
/* USER CODE END 4 */

void Error_Handler(void)
{
  /* USER CODE BEGIN Error_Handler_Debug */
	/* User can add his own implementation to report the HAL error return state */
	MotorShutdown(&sabertooth_handler);
	brakeMotor(&rearMotor, 1);
	brakeMotor(&backMotor, 1);
  /* USER CODE END Error_Handler_Debug */
}

/************************ (C) COPYRIGHT STMicroelectronics *****END OF FILE****/
